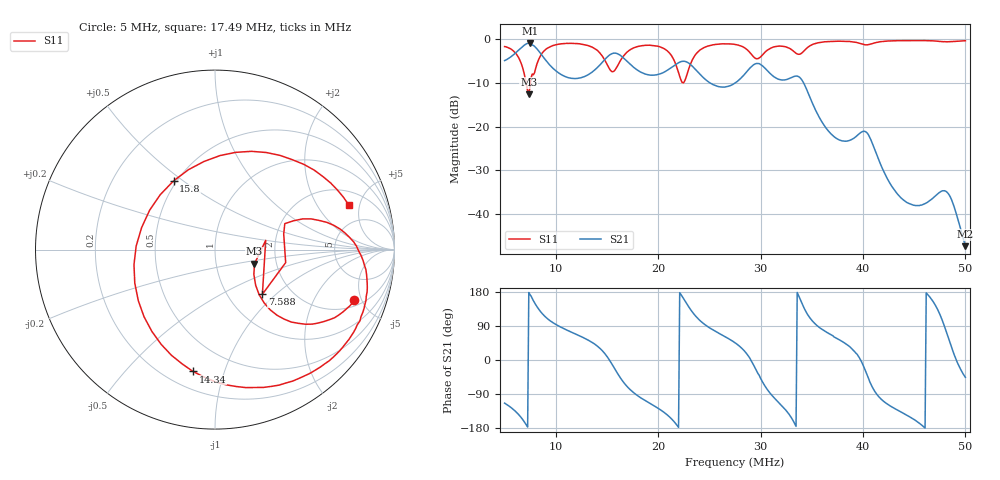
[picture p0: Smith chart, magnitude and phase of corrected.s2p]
! S11/S21 only; reverse parameters are placeholders. Device calibration unverified.
! [Saver CAL applied] C:\Users\aknya\MyProjects\rf-simulator\calibration2.cal | Ideal standards assumed | Input: NanoVNA F V2 profile | COM3 | 2026-09-08T10:48:40.4207574-04:00 | device calibration unverified
# HZ S RI R 50
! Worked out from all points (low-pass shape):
!   401 points, 5 MHz to 50 MHz, reference 50 ohm
!   highest |S21| = -0.83 dB at 7.475 MHz (marker M1); lowest = -47.4 dB at 50 MHz (marker M2)
!   |S21| within 3 dB of the highest: 5.716 MHz to 8.701 MHz (2.986 MHz wide, 41.4 % of centre); 15.13 MHz to 16.39 MHz (1.254 MHz wide, 7.96 % of centre)
!   lowest |S11| = -12.6 dB at 7.362 MHz (marker M3), VSWR 1.61, Z = 76.9 - j12.9 ohm
!   |S11| at or under -10 dB: 7.102 MHz to 7.521 MHz (419.1 kHz wide, 5.73 % of centre)
!   S12 and S22 are empty: the file has one direction only
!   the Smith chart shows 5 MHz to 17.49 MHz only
!   S11 on the Smith chart (normalised r, x): 5 MHz: 2.49, -4.36; 7.588 MHz: 1.44, -0.82; 14.34 MHz: 0.30, -0.79; 15.8 MHz: 0.48, +0.46; 17.49 MHz: 3.02, +3.92
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5000000  0.7763 -0.2796  -0.2305 -0.5216  0 0  0 0
7362500  0.22 -0.0792  -0.9079 0.0306  0 0  0 0
7475000  0.2825 0.0513  -0.9015 0.1166  0 0  0 0
7587500  0.2641 -0.2488  -0.8589 0.174  0 0  0 0
9725000  0.8408 -0.1118  -0.068 0.4601  0 0  0 0
1.25375e7  0.5866 -0.6547  0.1766 0.3196  0 0  0 0
1.43375e7  -0.1231 -0.6786  0.4441 0.2563  0 0  0 0
1.58e7  -0.2311 0.3827  0.6283 -0.2955  0 0  0 0
1.74875e7  0.745 0.249  0.0543 -0.4868  0 0  0 0
2.0075e7  0.6326 -0.5318  -0.25 -0.3103  0 0  0 0
2.13125e7  0.0882 -0.6398  -0.4349 -0.1964  0 0  0 0
2.22125e7  -0.3262 -0.1109  -0.5502 0.0657  0 0  0 0
2.345e7  0.3291 0.5198  -0.2563 0.4012  0 0  0 0
2.49125e7  0.8189 0.1852  0.0191 0.3245  0 0  0 0
2.75e7  0.8152 -0.3119  0.2206 0.2246  0 0  0 0
2.93e7  0.5343 -0.3373  0.497 -0.1101  0 0  0 0
3.0425e7  0.6795 -0.2097  0.1699 -0.4355  0 0  0 0
3.34625e7  0.5638 -0.4001  -0.3779 -0.0317  0 0  0 0
3.50375e7  0.7682 -0.4041  -0.0442 0.1829  0 0  0 0
4.2575e7  0.5432 -0.7871  -0.0114 -0.02  0 0  0 0
4.82e7  0.297 -0.8865  0.00631 0.0166  0 0  0 0
5e7  0.2529 -0.9294  0.00298 -0.00306  0 0  0 0
